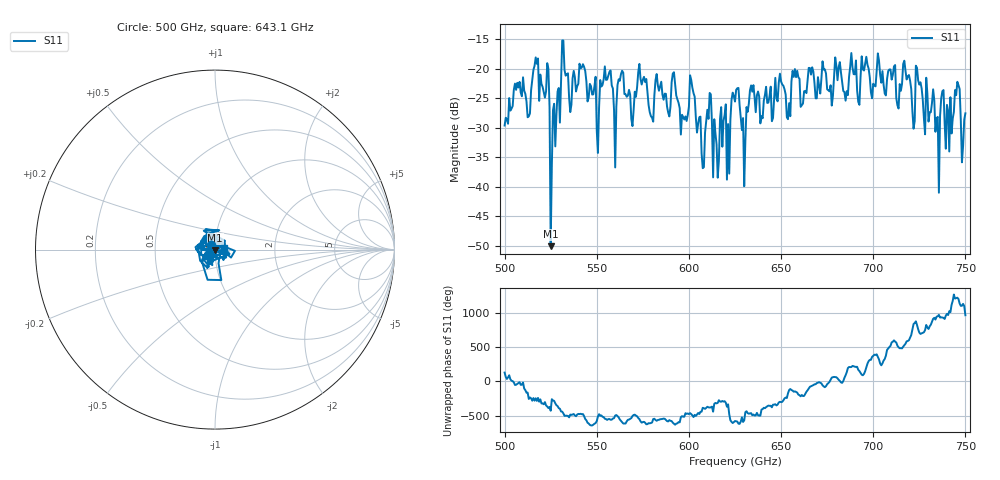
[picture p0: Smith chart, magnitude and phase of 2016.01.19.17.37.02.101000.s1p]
!Created with skrf (http://scikit-rf.org).
# GHz S RI R 50.0
!freq ReS11 ImS11
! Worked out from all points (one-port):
!   401 points, 500 GHz to 750 GHz, reference 50 ohm
!   lowest |S11| = -50.0 dB at 525 GHz (marker M1), VSWR 1.01, Z = 50.1 - j0.286 ohm
!   |S11| at or under -10 dB: start of sweep to end of sweep
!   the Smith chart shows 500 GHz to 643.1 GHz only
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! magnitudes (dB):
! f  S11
! 500 GHz  -29.6
! 506.9 GHz  -22.4
! 513.1 GHz  -28.1
! 516.9 GHz  -18.1
! 523.1 GHz  -19.1
! 525 GHz  -50.0
! 526.2 GHz  -27.0
! 531.2 GHz  -15.2
! 551.2 GHz  -26.6
! 553.1 GHz  -22.8
! 560 GHz  -36.7
! 562.5 GHz  -22.0
! 593.8 GHz  -25.2
! 596.9 GHz  -28.2
! 601.9 GHz  -23.2
! 608.1 GHz  -36.7
! 611.2 GHz  -24.1
! 614.4 GHz  -30.9
! 621.9 GHz  -37.8
! 625 GHz  -25.6
! 629.4 GHz  -28.4
! 633.8 GHz  -22.8
! 656.2 GHz  -20.4
! 687.5 GHz  -19.6
! 718.8 GHz  -21.3
! 735 GHz  -28.2
! 745.6 GHz  -22.2
! 750 GHz  -27.6
